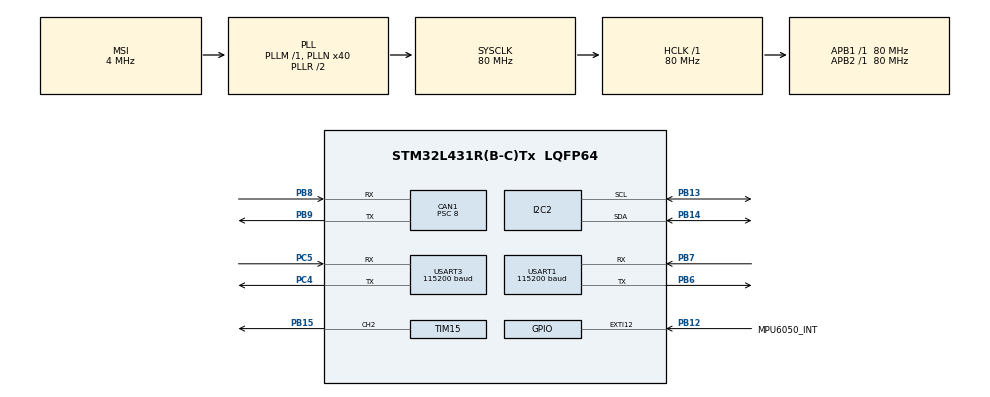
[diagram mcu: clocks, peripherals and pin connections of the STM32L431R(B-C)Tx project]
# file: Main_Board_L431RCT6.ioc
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CAN1.ABOM=ENABLE
CAN1.BS1=CAN_BS1_13TQ
CAN1.BS2=CAN_BS2_6TQ
CAN1.CalculateBaudRate=500000
CAN1.CalculateTimeBit=2000
CAN1.CalculateTimeQuantum=100.0
CAN1.Mode=CAN_MODE_NORMAL
CAN1.NART=ENABLE
CAN1.Prescaler=8
Dma.Request0=USART3_RX
Dma.USART3_RX.0.Direction=DMA_PERIPH_TO_MEMORY
Dma.USART3_RX.0.Instance=DMA1_Channel3
Dma.USART3_RX.0.MemDataAlignment=DMA_MDATAALIGN_BYTE
Dma.USART3_RX.0.MemInc=DMA_MINC_ENABLE
Dma.USART3_RX.0.Mode=DMA_CIRCULAR
Dma.USART3_RX.0.PeriphDataAlignment=DMA_PDATAALIGN_BYTE
Dma.USART3_RX.0.PeriphInc=DMA_PINC_DISABLE
Dma.USART3_RX.0.Priority=DMA_PRIORITY_HIGH
Mcu.Family=STM32L4
Mcu.Name=STM32L431R(B-C)Tx
Mcu.Package=LQFP64
NVIC.CAN1_RX0_IRQn=true\:0\:0\:false\:false\:true\:true\:true\:true
NVIC.CAN1_SCE_IRQn=true\:0\:0\:false\:false\:true\:true\:true\:true
NVIC.DMA1_Channel3_IRQn=true\:0\:0\:false\:false\:true\:false\:true\:true
NVIC.PriorityGroup=NVIC_PRIORITYGROUP_4
NVIC.USART3_IRQn=true\:0\:0\:false\:false\:true\:true\:true\:true
PA13\ (JTMS-SWDIO).Mode=Serial_Wire
PA13\ (JTMS-SWDIO).Signal=SYS_JTMS-SWDIO
PA14\ (JTCK-SWCLK).Mode=Serial_Wire
PA14\ (JTCK-SWCLK).Signal=SYS_JTCK-SWCLK
PB8.Mode=CAN_Activate
PB8.Signal=CAN1_RX
PB9.Mode=CAN_Activate
PB9.Signal=CAN1_TX
PB12.GPIO_Label=MPU6050_INT
PB12.GPIO_ModeDefaultEXTI=GPIO_MODE_IT_RISING
PB12.Signal=GPXTI12
PB13.Mode=I2C
PB13.Signal=I2C2_SCL
PB14.Mode=I2C
PB14.Signal=I2C2_SDA
PB15.Mode=PWM Generation2 CH2
PB15.Signal=TIM15_CH2
PC4.Mode=Asynchronous
PC4.Signal=USART3_TX
PC5.Mode=Asynchronous
PC5.Signal=USART3_RX
PB6.Mode=Asynchronous
PB6.Signal=USART1_TX
PB7.Mode=Asynchronous
PB7.Signal=USART1_RX
PH0-OSC_IN\ (PH0).Mode=HSE-External-Oscillator
PH0-OSC_IN\ (PH0).Signal=RCC_OSC_IN
PH1-OSC_OUT\ (PH1).Mode=HSE-External-Oscillator
PH1-OSC_OUT\ (PH1).Signal=RCC_OSC_OUT
ProjectManager.HeapSize=0x200
ProjectManager.StackSize=0x400
ProjectManager.TargetToolchain=Makefile
I2C2.I2C_Speed=400000
TIM15.Channel-PWM Generation2 CH2=TIM_CHANNEL_2
TIM15.Period=999
TIM15.Prescaler=79
RCC.AHBFreq_Value=80000000
RCC.APB1Freq_Value=80000000
RCC.APB1TimFreq_Value=80000000
RCC.APB2Freq_Value=80000000
RCC.APB2TimFreq_Value=80000000
RCC.CortexFreq_Value=80000000
RCC.HCLKFreq_Value=80000000
RCC.HSE_VALUE=12000000
RCC.HSI48_VALUE=48000000
RCC.HSI_VALUE=16000000
RCC.LSE_VALUE=32768
RCC.MSI_VALUE=4000000
RCC.PLLN=40
RCC.SYSCLKFreq_VALUE=80000000
RCC.SYSCLKSource=RCC_SYSCLKSOURCE_PLLCLK
RCC.VCOOutputFreq_Value=160000000
USART3.BaudRate=115200
USART3.Parity=PARITY_NONE
USART3.StopBits=STOPBITS_1
USART3.VirtualMode-Asynchronous=VM_ASYNC
USART1.BaudRate=115200
USART1.Parity=PARITY_NONE
USART1.StopBits=STOPBITS_1
USART1.VirtualMode-Asynchronous=VM_ASYNC
board=custom

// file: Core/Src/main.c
/* USER CODE BEGIN Header */
/**
  ******************************************************************************
  * @file           : main.c
  * @brief          : Main program body
  ******************************************************************************
  * @attention
  *
  * Copyright (c) 2026 STMicroelectronics.
  * All rights reserved.
  *
  * This software is licensed under terms that can be found in the LICENSE file
  * in the root directory of this software component.
  * If no LICENSE file comes with this software, it is provided AS-IS.
  *
  ******************************************************************************
  */
/* USER CODE END Header */
#include "main.h"
#include "can.h"
#include "dma.h"
#include "usart.h"
#include "gpio.h"
#include "i2c.h"
#include "tim.h"

/* USER CODE BEGIN Includes */
#include "bsp_can.h"
#include "bsp_tim.h"
#include "bsp_usart_idle.h"
#include "app_chassis.h"
#include "app_remote.h"
#include "app_debug.h"
#include "app_gimbal.h"
#include "bsp_mpu6050.h"
#include "dma.h"
#include "usart.h"

/* USER CODE END Includes */

/* USER CODE BEGIN PV */
static Chassis chassis_;

/* USER CODE END PV */

void SystemClock_Config(void);
/* USER CODE BEGIN PFP */
static void controlLoop(void);

/* USER CODE END PFP */

/* USER CODE BEGIN 0 */
static void controlLoop(void)
{
    /* Manual control has priority over every normal control command.  When
     * the link is lost, send zero-speed/hold-position commands immediately
     * and keep sending them every control period. */
    if (g_debug_.mode_ == DEBUG_MODE_NONE) {
        if (controllerDataIsError() != 0U ||
            controller_state.safety_state_ != CONTROLLER_SAFETY_NORMAL) {
            chassisEmergencyStop(&chassis_);
            gimbalEmergencyStop();
            g_debug_.can_.motor_rpm_[0] = 0;
            g_debug_.can_.motor_rpm_[1] = 0;
            g_debug_.can_.motor_rpm_[2] = 0;
            g_debug_.can_.motor_rpm_[3] = 0;
        chassisSendCmd(&chassis_);
        gimbalSendCmd();
        gimbalSendYawPitchCmd();

            /* The first valid frame after a dropout is accepted only after
             * one complete safe zero-command cycle. */
            controllerRecoveryComplete();
            return;
        }
    }

    switch (g_debug_.mode_) {
    case DEBUG_MODE_CHASSIS:
        debugRunChassis(&chassis_);
        break;
    case DEBUG_MODE_CAN:
        debugRunCanDirect();
        break;
    case DEBUG_MODE_NONE:
        /* Chassis convention: right/forward/CCW are positive.  The receiver
         * reports forward, left and left-turn as negative values. */
        {
            const float vx = (float)controller_state.left_stick_horizontal_ *
                             CHASSIS_MAX_LINEAR_SPEED_MPS / CHASSIS_STICK_RANGE;
            const float vy = (float)-controller_state.left_stick_vertical_ *
                             CHASSIS_MAX_LINEAR_SPEED_MPS / CHASSIS_STICK_RANGE;
            const float rotation_input =
                (controller_state.buttons_.lb_pressed_ != 0U ? 1.0f : 0.0f) -
                (controller_state.buttons_.rb_pressed_ != 0U ? 1.0f : 0.0f);
            const float vw = rotation_input * CHASSIS_MAX_ANGULAR_SPEED_RADPS;

            /* Mirror the effective hand-controller target into the watchable
             * debug object.  These fields used to remain at their init value
             * in normal mode, which made a working left-stick path look dead
             * in Ozone. */
            g_debug_.chassis_.vx_ = vx;
            g_debug_.chassis_.vy_ = vy;
            g_debug_.chassis_.vw_ = vw;
            chassisSetTarget(&chassis_, vx, vy, vw);
        }
        chassisUpdate(&chassis_);
        chassisSendCmd(&chassis_);
        gimbalUpdate();
        gimbalSendCmd();
        gimbalSendYawPitchCmd();
        break;
    }
}

/* USER CODE END 0 */

int main(void)
{

  /* MCU Configuration--------------------------------------------------------*/

  /* Reset of all peripherals, Initializes the Flash interface and the Systick. */
  HAL_Init();

  /* USER CODE BEGIN Init */
  chassisInit(&chassis_);
  debugInit();
  gimbalInit();

  /* USER CODE END Init */

  /* Configure the system clock */
  SystemClock_Config();

  /* Initialize all configured peripherals */
  MX_GPIO_Init();
  MX_DMA_Init();
  MX_CAN1_Init();
  MX_USART3_UART_Init();
  MX_USART1_UART_Init();
  MX_I2C2_Init();
  MX_TIM15_Init();
  /* USER CODE BEGIN 2 */
  /* The ESP32 controller link is 115200 8N1.  This also handles a stale
   * generated usart.c until CubeMX is regenerated from the current .ioc. */
  if (huart3.Init.BaudRate != 115200U ||
      huart3.Init.WordLength != UART_WORDLENGTH_8B ||
      huart3.Init.StopBits != UART_STOPBITS_1 ||
      huart3.Init.Parity != UART_PARITY_NONE) {
    if (HAL_UART_DeInit(&huart3) != HAL_OK) {
      Error_Handler();
    }
    huart3.Init.BaudRate = 115200U;
    huart3.Init.WordLength = UART_WORDLENGTH_8B;
    huart3.Init.StopBits = UART_STOPBITS_1;
    huart3.Init.Parity = UART_PARITY_NONE;
    huart3.Init.Mode = UART_MODE_TX_RX;
    huart3.Init.HwFlowCtl = UART_HWCONTROL_NONE;
    huart3.Init.OverSampling = UART_OVERSAMPLING_16;
    huart3.Init.OneBitSampling = UART_ONE_BIT_SAMPLE_DISABLE;
    huart3.AdvancedInit.AdvFeatureInit = UART_ADVFEATURE_NO_INIT;
    if (HAL_UART_Init(&huart3) != HAL_OK) {
      Error_Handler();
    }
  }
  canInit(&hcan1);
  /* canInit() records the result after filters, Start and RX notification
   * are all installed.  This is a configuration/driver check only; it does
   * not prove that a transceiver or a peer is present on the physical bus. */
  controllerRxInit(&huart3);
  controllerPcRxInit();
  (void)mpu6050Init();

  /* USER CODE END 2 */

  /* Infinite loop */
  while (1)
  {

    /* USER CODE BEGIN 3 */
    if (bspTimControlPeriodElapsed()) {
      mpu6050Update();
      controlLoop();
    }
  }
  /* USER CODE END 3 */
}

void SystemClock_Config(void)
{
  RCC_OscInitTypeDef RCC_OscInitStruct = {0};
  RCC_ClkInitTypeDef RCC_ClkInitStruct = {0};

  /** Configure the main internal regulator output voltage
  */
  if (HAL_PWREx_ControlVoltageScaling(PWR_REGULATOR_VOLTAGE_SCALE1) != HAL_OK)
  {
    Error_Handler();
  }

  /** Initializes the RCC Oscillators according to the specified parameters
  * in the RCC_OscInitTypeDef structure.
  */
  RCC_OscInitStruct.OscillatorType = RCC_OSCILLATORTYPE_MSI;
  RCC_OscInitStruct.MSIState = RCC_MSI_ON;
  RCC_OscInitStruct.MSICalibrationValue = 0;
  RCC_OscInitStruct.MSIClockRange = RCC_MSIRANGE_6;
  RCC_OscInitStruct.PLL.PLLState = RCC_PLL_ON;
  RCC_OscInitStruct.PLL.PLLSource = RCC_PLLSOURCE_MSI;
  RCC_OscInitStruct.PLL.PLLM = 1;
  RCC_OscInitStruct.PLL.PLLN = 40;
  RCC_OscInitStruct.PLL.PLLP = RCC_PLLP_DIV7;
  RCC_OscInitStruct.PLL.PLLQ = RCC_PLLQ_DIV2;
  RCC_OscInitStruct.PLL.PLLR = RCC_PLLR_DIV2;
  if (HAL_RCC_OscConfig(&RCC_OscInitStruct) != HAL_OK)
  {
    Error_Handler();
  }

  /** Initializes the CPU, AHB and APB buses clocks
  */
  RCC_ClkInitStruct.ClockType = RCC_CLOCKTYPE_HCLK|RCC_CLOCKTYPE_SYSCLK
                              |RCC_CLOCKTYPE_PCLK1|RCC_CLOCKTYPE_PCLK2;
  RCC_ClkInitStruct.SYSCLKSource = RCC_SYSCLKSOURCE_PLLCLK;
  RCC_ClkInitStruct.AHBCLKDivider = RCC_SYSCLK_DIV1;
  RCC_ClkInitStruct.APB1CLKDivider = RCC_HCLK_DIV1;
  RCC_ClkInitStruct.APB2CLKDivider = RCC_HCLK_DIV1;

  if (HAL_RCC_ClockConfig(&RCC_ClkInitStruct, FLASH_LATENCY_4) != HAL_OK)
  {
    Error_Handler();
  }
}

/* USER CODE BEGIN 4 */
void HAL_CAN_RxFifo0MsgPendingCallback(CAN_HandleTypeDef *hcan)
{
    CAN_RxHeaderTypeDef rx_header;
    uint8_t rx_data[8];

    if (HAL_CAN_GetRxMessage(hcan, CAN_RX_FIFO0, &rx_header, rx_data) == HAL_OK) {
        debugUpdateCanRx(rx_header.StdId, rx_data);
        debugUpdateCanState();
        chassisProcessFeedback(&chassis_, rx_header.StdId, rx_data);
        gimbalProcessFeedback(rx_header.StdId, rx_data);
    }
}

void userUartRxIdleCallback(UART_HandleTypeDef *huart)
{
    UNUSED(huart);
}

void HAL_UARTEx_RxEventCallback(UART_HandleTypeDef *huart, uint16_t size)
{
    if (huart == controller_state.uart_) {
        controllerRxCallback(&controller_state, controller_rx_dma_buffer, size);
    }
}

void HAL_CAN_ErrorCallback(CAN_HandleTypeDef *hcan)
{
    if (hcan == &hcan1) {
        debugUpdateCanState();
    }
}

void HAL_UART_RxCpltCallback(UART_HandleTypeDef *huart)
{
    if (huart == &huart1) controllerPcRxComplete();
}

void HAL_UART_ErrorCallback(UART_HandleTypeDef *huart)
{
    if (huart == &huart3) {
        controllerRecover();
    } else if (huart == &huart1) {
        controllerPcRxError();
    }
}

/* USER CODE END 4 */

void Error_Handler(void)
{
  __disable_irq();
  while (1)
  {
  }
}
